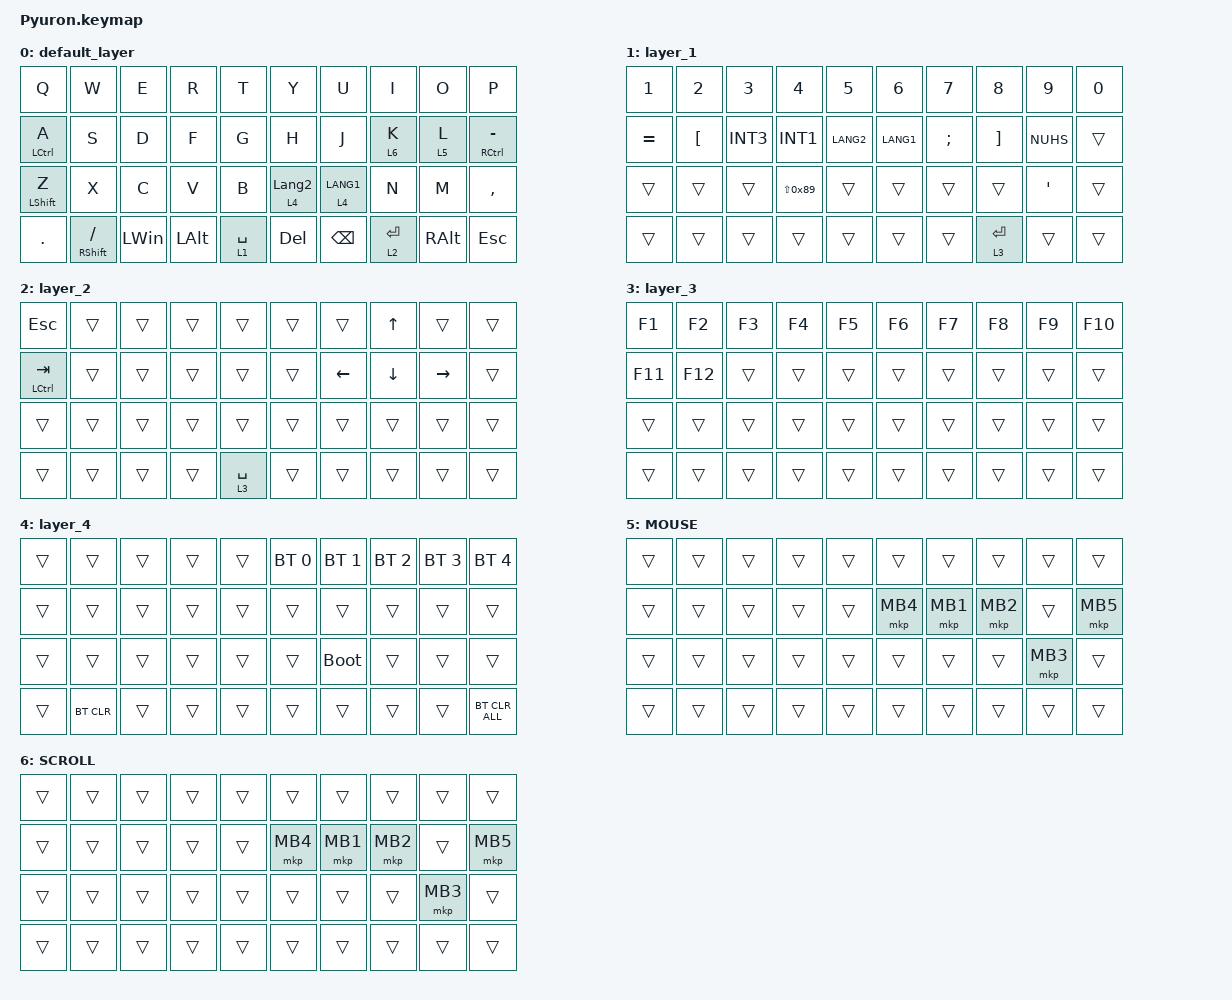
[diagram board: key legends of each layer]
#include <zephyr/dt-bindings/input/input-event-codes.h>
#include <scroll-snap.dtsi>
#include <behaviors.dtsi>
#include <dt-bindings/zmk/bt.h>
#include <dt-bindings/zmk/keys.h>
#include <dt-bindings/zmk/pointing.h>

#define MOUSE 5
#define SCROLL 6
#define JP_YEN          0x89              // ¥
#define JP_PIPE         LS(0x89)          // |
#define JP_UNDERSCORE   LS(0x87)          // _

&mt {
    flavor = "balanced";
    quick-tap-ms = <0>;
};

/ {
    combos {
        compatible = "zmk,combos";

        combo_tab {
            bindings = <&kp TAB>;
            key-positions = <11 12>;
            timeout-ms = <60>;
        };

        combo_lang2 {
            bindings = <&kp LANGUAGE_2>;
            key-positions = <12 13>;
            timeout-ms = <60>;
        };

        combo_lang1 {
            bindings = <&kp LANG1>;
            key-positions = <16 17>;
            timeout-ms = <60>;
        };

        combo_esc {
            bindings = <&kp ESC>;
            key-positions = <1 2>;
        };
    };

    macros {
        to_layer_0: to_layer_0 {
            compatible = "zmk,behavior-macro-one-param";
            #binding-cells = <1>;
            bindings = <&to 0 &macro_param_1to1 &kp MACRO_PLACEHOLDER>;
            label = "TO_LAYER_0";
        };
    };

    lt_to_layer_0: lt_to_layer_0 {
        compatible = "zmk,behavior-hold-tap";
        label = "LAYER_TAP_TO_0";
        bindings = <&mo>, <&to_layer_0>;

        #binding-cells = <2>;
        tapping-term-ms = <200>;
    };

    input_processors {
        zip_scroll_x_scaler: zip_scroll_x_scaler {
            compatible = "zmk,input-processor-scaler";
            #input-processor-cells = <2>;
            type = <INPUT_EV_REL>;
            codes = <INPUT_REL_HWHEEL>;
            track-remainders;
        };

        zip_scroll_y_scaler: zip_scroll_y_scaler {
            compatible = "zmk,input-processor-scaler";
            #input-processor-cells = <2>;
            type = <INPUT_EV_REL>;
            codes = <INPUT_REL_WHEEL>;
            track-remainders;
        };
    };
};

&trackball_listener_R {
    scroller {
        layers = <SCROLL>;
        input-processors = <
            &zip_xy_to_scroll_mapper
            &zip_scroll_scaler 1 4
        >;
    };
};

/ {
    behaviors {
        hmr_r: hmr_r {
            compatible = "zmk,behavior-hold-tap";
            label = "HMR_R";
            bindings = <&kp>, <&kp>;

            #binding-cells = <2>;
            tapping-term-ms = <200>;
            flavor = "balanced";
            hold-trigger-key-positions = <31 30 20 21 22 23 24 14 13 12 11 10 0 1 2 3 4>;
            hold-trigger-on-release;
            require-prior-idle-ms = <150>;
        };

        hmr_r2: hmr_r2 {
            compatible = "zmk,behavior-hold-tap";
            label = "HMR_R2";
            bindings = <&kp>, <&kp>;

            #binding-cells = <2>;
            tapping-term-ms = <200>;
            flavor = "balanced";
            hold-trigger-key-positions = <31 30 20 21 22 23 24 14 13 12 11 10 0 1 2 3 4>;
            hold-trigger-on-release;
            require-prior-idle-ms = <150>;
            hold-while-undecided;
        };

        hmr_l: hmr_l {
            compatible = "zmk,behavior-hold-tap";
            label = "HMR_L";
            bindings = <&kp>, <&kp>;

            #binding-cells = <2>;
            tapping-term-ms = <200>;
            flavor = "balanced";
            hold-trigger-key-positions = <36 35 25 26 27 28 29 19 18 17 16 15 5 6 7 8 9>;
            hold-trigger-on-release;
            require-prior-idle-ms = <150>;
        };

        hmr_l2: hmr_l2 {
            compatible = "zmk,behavior-hold-tap";
            label = "HMR_L2";
            bindings = <&kp>, <&kp>;

            #binding-cells = <2>;
            tapping-term-ms = <200>;
            flavor = "balanced";
            hold-trigger-key-positions = <36 35 25 26 27 28 29 19 18 17 16 15 5 6 7 8 9>;
            hold-trigger-on-release;
            require-prior-idle-ms = <150>;
            hold-while-undecided;
        };
    };

    keymap {
        compatible = "zmk,keymap";

        default_layer {
            bindings = <
&kp Q                   &kp W                      &kp E         &kp R         &kp T        &kp Y             &kp U          &kp I        &kp O          &kp P
&hmr_l2 LEFT_CONTROL A  &kp S                      &kp D         &kp F         &kp G        &kp H             &kp J          &lt 6 K      &lt 5 L        &hmr_r2 RIGHT_CONTROL MINUS
&hmr_l2 LEFT_SHIFT Z    &kp X                      &kp C         &kp V         &kp B        &lt 4 LANGUAGE_2  &lt 4 LANG1    &kp N        &kp M          &kp COMMA
&kp DOT                 &hmr_r2 RIGHT_SHIFT SLASH  &kp LEFT_WIN  &kp LEFT_ALT  &lt 1 SPACE  &kp DELETE        &kp BACKSPACE  &lt 2 ENTER  &kp RIGHT_ALT  &kp ESCAPE
            >;
        };

        layer_1 {
            bindings = <
&kp N1     &kp N2            &kp N3    &kp N4       &kp N5     &kp N6     &kp N7         &kp N8             &kp N9            &kp N0
&kp EQUAL  &kp LEFT_BRACKET  &kp INT3  &kp INT1     &kp LANG2  &kp LANG1  &kp SEMICOLON  &kp RIGHT_BRACKET  &kp NUHS          &trans
&trans     &trans            &trans    &kp JP_PIPE  &trans     &trans     &trans         &trans             &kp SINGLE_QUOTE  &trans
&trans     &trans            &trans    &trans       &trans     &trans     &trans         &lt 3 RET          &trans            &trans
            >;
        };

        layer_2 {
            bindings = <
&kp ESC               &trans  &trans  &trans  &trans       &trans  &trans          &kp UP          &trans           &trans
&mt LEFT_CONTROL TAB  &trans  &trans  &trans  &trans       &trans  &kp LEFT_ARROW  &kp DOWN_ARROW  &kp RIGHT_ARROW  &trans
&trans                &trans  &trans  &trans  &trans       &trans  &trans          &trans          &trans           &trans
&trans                &trans  &trans  &trans  &lt 3 SPACE  &trans  &trans          &trans          &trans           &trans
            >;
        };

        layer_3 {
            bindings = <
&kp F1   &kp F2   &kp F3  &kp F4  &kp F5  &kp F6  &kp F7  &kp F8  &kp F9  &kp F10
&kp F11  &kp F12  &trans  &trans  &trans  &trans  &trans  &trans  &trans  &trans
&trans   &trans   &trans  &trans  &trans  &trans  &trans  &trans  &trans  &trans
&trans   &trans   &trans  &trans  &trans  &trans  &trans  &trans  &trans  &trans
            >;
        };

        layer_4 {
            bindings = <
&trans  &trans      &trans  &trans  &trans  &bt BT_SEL 0  &bt BT_SEL 1  &bt BT_SEL 2  &bt BT_SEL 3  &bt BT_SEL 4
&trans  &trans      &trans  &trans  &trans  &trans        &trans        &trans        &trans        &trans
&trans  &trans      &trans  &trans  &trans  &trans        &bootloader   &trans        &trans        &trans
&trans  &bt BT_CLR  &trans  &trans  &trans  &trans        &trans        &trans        &trans        &bt BT_CLR_ALL
            >;
        };

        MOUSE {
            bindings = <
&trans  &trans  &trans  &trans  &trans  &trans    &trans    &trans    &trans    &trans
&trans  &trans  &trans  &trans  &trans  &mkp MB4  &mkp MB1  &mkp MB2  &trans    &mkp MB5
&trans  &trans  &trans  &trans  &trans  &trans    &trans    &trans    &mkp MB3  &trans
&trans  &trans  &trans  &trans  &trans  &trans    &trans    &trans    &trans    &trans
            >;
        };

        SCROLL {
            bindings = <
&trans  &trans  &trans  &trans  &trans  &trans    &trans    &trans    &trans    &trans
&trans  &trans  &trans  &trans  &trans  &mkp MB4  &mkp MB1  &mkp MB2  &trans    &mkp MB5
&trans  &trans  &trans  &trans  &trans  &trans    &trans    &trans    &mkp MB3  &trans
&trans  &trans  &trans  &trans  &trans  &trans    &trans    &trans    &trans    &trans
            >;
        };
    };
};
